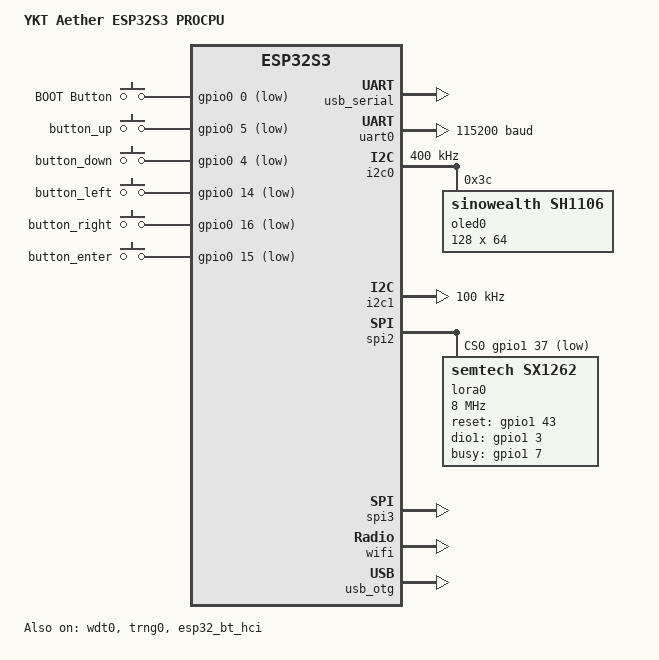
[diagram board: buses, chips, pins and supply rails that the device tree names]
/*
 * Copyright (c) 2024-2025 Espressif Systems (Shanghai) Co., Ltd.
 *
 * SPDX-License-Identifier: Apache-2.0
 */
/dts-v1/;

#include <espressif/esp32s3/esp32s3_wroom_n8.dtsi>
#include <zephyr/dt-bindings/input/input-event-codes.h>
#include <zephyr/dt-bindings/input/esp32-touch-sensor-input.h>
#include <espressif/partitions_0x0_amp.dtsi>

// Default pin settings
#include "ykt_aether-pinctrl.dtsi"

// LVGL bindings include
#include <zephyr/dt-bindings/lvgl/lvgl.h>

/ {
	model = "YKT Aether ESP32S3 PROCPU";
	compatible = "espressif,esp32s3";

	aliases {
		i2c-0 = &i2c0;
		watchdog0 = &wdt0;
		uart-0 = &uart0;
		sw0 = &button0;
		lora0 = &lora0;
		oled0 = &oled0;
	};

	chosen {
		zephyr,sram = &sram1;
		zephyr,console = &usb_serial;
		zephyr,shell-uart = &usb_serial;
		zephyr,flash = &flash0;
		zephyr,code-partition = &slot0_partition;
		zephyr,bt-hci = &esp32_bt_hci;
		zephyr,display = &oled0;
	};

	//physical button definitions
	buttons: buttons {
		compatible = "gpio-keys";

		button0: button_0 {
			gpios = <&gpio0 0 (GPIO_PULL_UP | GPIO_ACTIVE_LOW)>;
			label = "BOOT Button";
			zephyr,code = <INPUT_KEY_0>;
		};

        button_up: d5 {
            gpios = <&gpio0 5 GPIO_ACTIVE_LOW>;
			zephyr,code = <INPUT_KEY_UP>;
        };


        button_down: d4 {
            gpios = <&gpio0 4 GPIO_ACTIVE_LOW>;
			zephyr,code = <INPUT_KEY_DOWN>;
        };


        button_left: d14 {
            gpios = <&gpio0 14 GPIO_ACTIVE_LOW>;
			zephyr,code = <INPUT_KEY_LEFT>;
        };


        button_right: d16 {
            gpios = <&gpio0 16 GPIO_ACTIVE_LOW>;
			zephyr,code = <INPUT_KEY_RIGHT>;
        };

        button_enter: d15 {
            gpios = <&gpio0 15 GPIO_ACTIVE_LOW>;
			zephyr,code = <INPUT_KEY_ENTER>;
        };

	};

	// LVGL keypad input device (dpad buttons)
	dpad0: keypad0 {
		compatible = "zephyr,lvgl-keypad-input";
		input = <&buttons>;

		input-codes = <	INPUT_KEY_UP
					   	INPUT_KEY_DOWN
					   	INPUT_KEY_LEFT
					   	INPUT_KEY_RIGHT
					   	INPUT_KEY_ENTER>;

		lvgl-codes = <	LV_KEY_UP
						LV_KEY_DOWN
						LV_KEY_LEFT
						LV_KEY_RIGHT
						LV_KEY_ENTER>;

	};
};

&usb_serial {
	status = "okay";
};

&uart0 {
	status = "okay";
	current-speed = <115200>;
	pinctrl-0 = <&uart0_default>;
	pinctrl-names = "default";
};

&gpio0 {
	status = "okay";
};

&gpio1 {
	status = "okay";
};

&touch {
	debounce-interval-ms = <30>;
	href-microvolt = <2700000>;
	lref-microvolt = <500000>;
	href-atten-microvolt = <1000000>;
	filter-mode = <ESP32_TOUCH_FILTER_MODE_IIR_16>;
	filter-debounce-cnt = <1>;
	filter-noise-thr = <ESP32_TOUCH_FILTER_NOISE_THR_4_8TH>;
	filter-jitter-step = <4>;
	filter-smooth-level = <ESP32_TOUCH_FILTER_SMOOTH_MODE_IIR_2>;
};

&i2c0 {
	status = "okay";
	clock-frequency = <I2C_BITRATE_FAST>;
	pinctrl-0 = <&i2c0_default>;
	pinctrl-names = "default";

	// OLED display
	oled0: sh1106@3c {
		compatible = "sinowealth,sh1106";
		reg = <0x3c>;
		width = <128>;
		height = <64>;
		segment-offset = <2>;
		page-offset = <0>;
		display-offset = <0>;
		multiplex-ratio = <63>;
		prechargep = <0xD1>;
		inversion-on;
	};

};

&i2c1 {
	clock-frequency = <I2C_BITRATE_STANDARD>;
	pinctrl-0 = <&i2c1_default>;
	pinctrl-names = "default";
};

&i2s0 {
	pinctrl-0 = <&i2s0_default>;
	pinctrl-names = "default";
};

&i2s1 {
	pinctrl-0 = <&i2s1_default>;
	pinctrl-names = "default";
};

&spi2 {
	#address-cells = <1>;
	#size-cells = <0>;
	status = "okay";
	pinctrl-0 = <&spim2_default>;
	pinctrl-names = "default";

	// Set chip select GPIO pins used for SPI devices here
	cs-gpios = <&gpio1 37 GPIO_ACTIVE_LOW>;
	
	// LoRa module
	lora0: sx1262@0 {
		status = "okay";
		compatible = "semtech,sx1262";
		reg = <0>;

		spi-max-frequency = <8000000>;

		// Current revision of hardware connected LoRa reset to sys reset. IO43 is an unused pin used as a placeholder.
		reset-gpios = <&gpio1 43 GPIO_ACTIVE_HIGH>;

		// LoRa module DIO1 (interrupt) pin on GPIO35 -> bank 1 pin 3
		dio1-gpios = <&gpio1 3 (GPIO_ACTIVE_HIGH | GPIO_PULL_DOWN)>;

		// LoRa module busy pin on GPIO39 -> bank 1 pin 7
		busy-gpios = <&gpio1 7 (GPIO_ACTIVE_HIGH | GPIO_PULL_DOWN)>;

		// LoRa module antenna switch control pin on GPIO45 -> bank 1 pin 13
		//rx-enable-gpios = <&gpio1 13 GPIO_ACTIVE_HIGH>;
		//tx-enable-gpios = <&gpio1 13 GPIO_ACTIVE_LOW>;

		// DIO2 internally controls the RF switch for the WIO-sx1262 module
		dio2-tx-enable;

		// TCXO voltage supply pin on DIO3 (set to 3.0V as per module specifications (.2V less than Vcc))
		dio3-tcxo-voltage = <0x06>;

	};
};

&spi3 {
	#address-cells = <1>;
	#size-cells = <0>;
	status = "okay";
	pinctrl-0 = <&spim3_default>;
	pinctrl-names = "default";
};

&twai {
	pinctrl-0 = <&twai_default>;
	pinctrl-names = "default";
};

&timer0 {
	status = "disabled";
};

&timer1 {
	status = "disabled";
};

&timer2 {
	status = "disabled";
};

&timer3 {
	status = "disabled";
};

&wdt0 {
	status = "okay";
};

&trng0 {
	status = "okay";
};

&esp32_bt_hci {
	status = "okay";
};

&wifi {
	status = "okay";
};

zephyr_udc0: &usb_otg {
	status = "okay";
};
